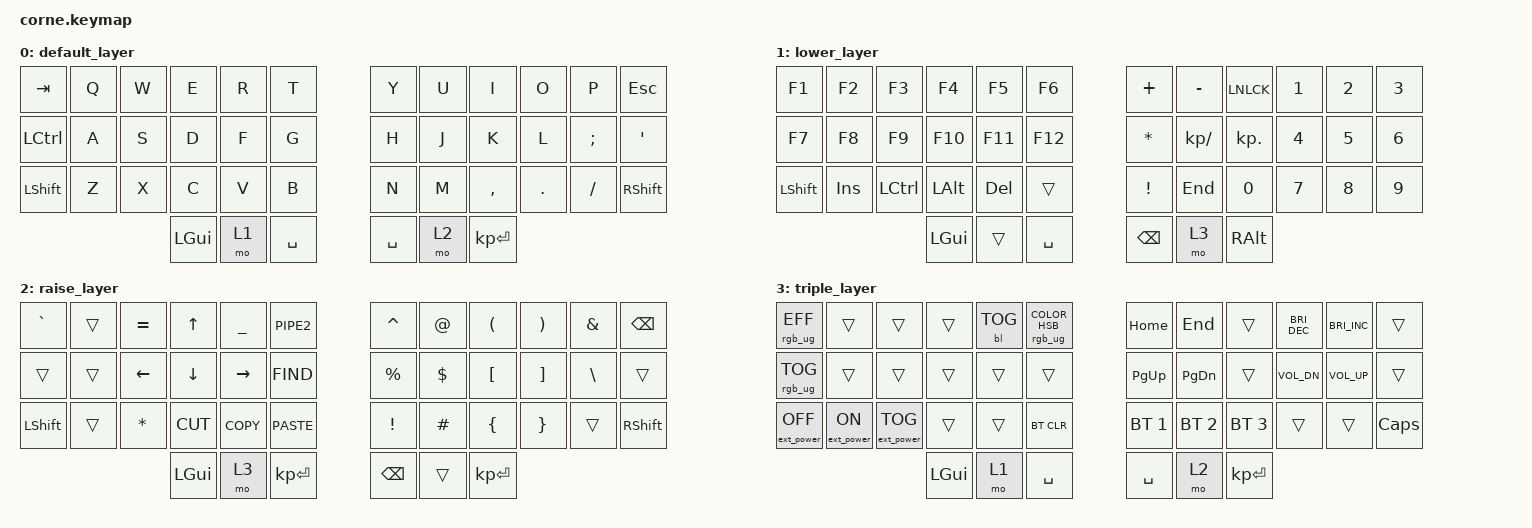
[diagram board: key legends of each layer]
/*
 * Copyright (c) 2020 The ZMK Contributor
 *
 * SPDX-License-Identifier: MIT
 */

#include <behaviors.dtsi>
#include <dt-bindings/zmk/keys.h>
#include <dt-bindings/zmk/bt.h>
#include <dt-bindings/zmk/ext_power.h>
#include <dt-bindings/zmk/rgb.h>
#include <dt-bindings/zmk/backlight.h>

/ {
        keymap {
                compatible = "zmk,keymap";

                default_layer {
// -----------------------------------------------------------------------------------------
// |  TAB |  Q  |  W  |  E  |  R  |  T  |   |  Y  |  U   |  I  |  O  |  P  | ESC |
// | CTRL |  A  |  S  |  D  |  F  |  G  |   |  H  |  J   |  K  |  L  |  ;  |  '   |
// | SHFT |  Z  |  X  |  C  |  V  |  B  |   |  N  |  M   |  ,  |  .  |  /  | RSHFT  |
//                    | GUI | LWR | SPC |   | SPC | RSE  | ENTER |
                        bindings = <
   &kp TAB   &kp Q &kp W &kp E &kp R &kp T   &kp Y &kp U  &kp I     &kp O   &kp P  &kp ESC
   &kp LCTRL &kp A &kp S &kp D &kp F &kp G   &kp H &kp J  &kp K     &kp L   &kp SEMI &kp SQT
   &kp LSHFT &kp Z &kp X &kp C &kp V &kp B   &kp N &kp M  &kp COMMA &kp DOT &kp SLASH &kp RSHFT
                  &kp LGUI &mo 1 &kp SPACE   &kp SPACE &mo 2 &kp KP_ENTER
                        >;
                };
                
                lower_layer {
// -----------------------------------------------------------------------------------------
// |  F1 |  F2  |  F3  | F4 | F5 | F6 |   |  +  | - |  NUM LOCK  |  1  |  2 | 3 |
// | F7| F8 | F9 | F10 | F11 | F12|                    | * | / | . | 4 | 5 |  6 |
// | SHFT | INST | CTRL|  ALT | DLT  |     |           | ! | END  | 0 |7 | 8 | 9 |
//                    | GUI |     | SPC |       | BCK |  layer   | ALT |
                        bindings = <
   &kp F1    &kp F2  &kp F3  &kp F4   &kp F5   &kp F6         &kp PLUS   &kp MINUS   &kp LNLCK &kp N1  &kp N2 &kp N3
   &kp F7 &kp F8 &kp F9 &kp F10 &kp F11 &kp F12                 &kp ASTRK &kp KP_SLASH &kp KP_DOT &kp N4 &kp N5 &kp N6
   &kp LSHFT  &kp INS &kp LCTRL &kp LALT  &kp DEL  &trans       &kp EXCL &kp END &kp N0 &kp N7 &kp N8 &kp N9
                    &kp LGUI     &trans       &kp SPACE      &kp BSPC  &mo 3   &kp RALT
                        >;
                };

                raise_layer {
// -----------------------------------------------------------------------------------------
// |  ~ |    |  =  |  UP |  _  |  "|"  |                |  ^  |  @  |  (  |  )  |  &  | BKSP |
// |     |     |  LEFT |  DOWN   | RIGHT |  FIND  |         |  %  |  $  |  [  |  ]  |  \  |     |
// | SHFT |     |  *   |   CUT |  COPY | PASTE |             |  !  |  #  |  {  |  }  |  |  RSHIFT   |
//                    | GUI | 3rd layer | ENT |                          BACK |    | ENTER |
                        bindings = <
   &kp  GRAVE  &trans &kp EQUAL &kp UP &kp UNDER &kp PIPE2         &kp CARET &kp AT  &kp LPAR &kp RPAR &kp AMPS &kp BSPC
  &trans  &trans &kp LEFT  &kp DOWN &kp RIGHT &kp K_FIND               &kp PRCNT &kp DLLR &kp LBKT  &kp RBKT &kp BSLH &trans
  &kp LSHFT  &trans &kp ASTRK  &kp K_CUT  &kp K_COPY   &kp K_PASTE            &kp EXCL &kp POUND  &kp LBRC  &kp RBRC &trans &kp RSHFT
                    	     &kp LGUI &mo 3   &kp KP_ENTER                     &kp BSPC   &trans    &kp KP_ENTER
                        >;
                };
                
                 triple_layer {
// -----------------------------------------------------------------------------------------
// |  RGB_EFF |     |     |     | Backlight  | RGB  |                     |  HOME   | END    |     | DEC BRIGHT  |  INC Bright |    | 
// | RGB_TOG |     |     |     |     |     |   |     |                  |  Page DOwn  |   Page Up    |       |   VOL_Down  |  VOL_UP  |      |
// | EP_OFF | EP_ON  |  EP_TOG |     |     |     |   |                     |      |     |     |     | CAPS |
//                                           | GUI | LWR | SPC |   | SPC | RSE  | ENTER |
                        bindings = <
   &rgb_ug RGB_EFF &trans &trans &trans &bl BL_TOG &rgb_ug RGB_COLOR_HSB(157,100,86)             &kp HOME &kp END &trans  &kp C_BRIGHTNESS_DEC &kp C_BRIGHTNESS_INC &trans
   &rgb_ug RGB_TOG &trans &trans &trans &trans &trans                                   &kp PG_UP &kp PG_DN &trans &kp C_VOL_DN &kp C_VOL_UP &trans 
   &ext_power EP_OFF &ext_power EP_ON &ext_power EP_TOG &trans &trans &bt BT_CLR            &bt BT_SEL 1 &bt BT_SEL 2 &bt BT_SEL 3 &trans &trans &kp CAPS
                                                  &kp LGUI &mo 1 &kp SPACE   &kp SPACE &mo 2 &kp KP_ENTER
                        >;
                };
        };
};
